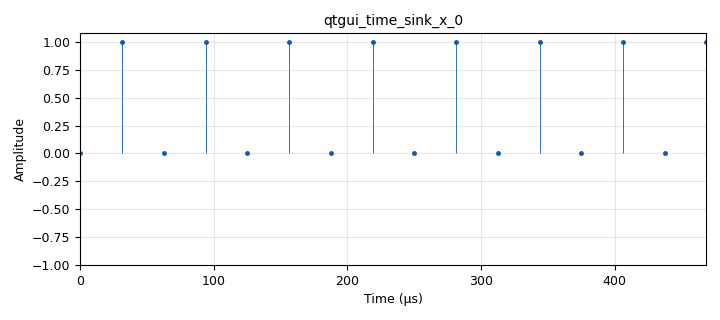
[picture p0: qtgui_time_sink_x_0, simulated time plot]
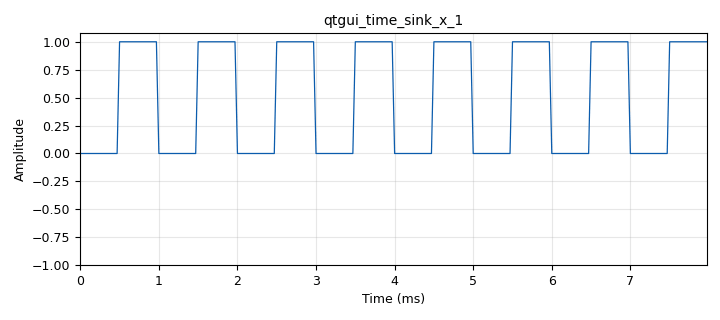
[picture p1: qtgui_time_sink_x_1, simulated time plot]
options:
  parameters:
    generate_options: qt_gui
    id: ook_decoder
    output_language: python
    title: Not titled yet
  states: {}

blocks:
- name: noise_amplitude
  id: variable_qtgui_range
  parameters:
    label: Noise Level
    start: '0'
    step: '.01'
    stop: '2'
    value: '0'
  states: {}
- name: samp_rate
  id: variable
  parameters:
    value: '32000'
  states: {}
- name: sps
  id: variable
  parameters:
    value: '16'
  states: {}
- name: threshold
  id: variable_qtgui_range
  parameters:
    label: Threshold
    start: '0.01'
    step: '0.01'
    stop: '1'
    value: '0.5'
  states: {}
- name: analog_noise_source_x_0
  id: analog_noise_source_x
  parameters:
    amp: noise_amplitude
    noise_type: analog.GR_GAUSSIAN
    seed: '0'
    type: float
  states: {}
- name: analog_sig_source_x_0
  id: analog_sig_source_x
  parameters:
    amp: '1'
    freq: samp_rate/(2*sps)
    offset: '0'
    phase: '0'
    samp_rate: samp_rate
    type: float
    waveform: analog.GR_SQR_WAVE
  states: {}
- name: blocks_add_xx_0
  id: blocks_add_xx
  parameters:
    type: float
  states: {}
- name: blocks_int_to_float_0
  id: blocks_int_to_float
  parameters:
    scale: '1'
  states: {}
- name: blocks_throttle2_0
  id: blocks_throttle2
  parameters:
    samples_per_second: samp_rate
    type: float
  states: {}
- name: epy_block_1
  id: epy_block
  parameters:
    _source_code: |
      """
      Embedded Python Blocks:

      Each time this file is saved, GRC will instantiate the first class it finds
      to get ports and parameters of your block. The arguments to __init__  will
      be the parameters. All of them are required to have default values!
      """

      import numpy as np
      from gnuradio import gr

      class blk(gr.sync_block):
          def __init__(self, threshold=0.5, windowsize=10):  # Schwellwert als Parameter
              gr.sync_block.__init__(
                  self,
                  name='Moving Average with Threshold Decision',
                  in_sig=[np.float32],  # Verwendung von float32 für Eingangssignal
                  out_sig=[np.int32]    # Ausgangssignal als int32 (für 0 oder 1 Werte)
              )
              self.threshold = threshold
              self.window_size = windowsize
              self.buffer = np.zeros(self.window_size, dtype=np.float32)  # Buffer als float32

          def work(self, input_items, output_items):
              in0 = input_items[0]
              out = output_items[0]
              
              for i in range(len(in0)):
                  self.buffer[:-1] = self.buffer[1:]
                  self.buffer[-1] = in0[i]
                  moving_average = np.mean(self.buffer)
                  out[i] = 1 if moving_average > self.threshold else 0
                  
              print(len(out))
                  
              return len(out)
    threshold: threshold
    windowsize: sps
  states: {}
- name: qtgui_time_sink_x_0
  id: qtgui_time_sink_x
  parameters:
    entags: 'False'
    marker1: '0'
    size: int(256/sps)
    srate: samp_rate
    stemplot: 'True'
    tr_level: '0.1'
    tr_mode: qtgui.TRIG_MODE_AUTO
    type: float
    update_time: '0.01'
  states: {}
- name: qtgui_time_sink_x_1
  id: qtgui_time_sink_x
  parameters:
    size: '256'
    srate: samp_rate
    type: float
    update_time: '0.01'
  states: {}
- name: rational_resampler_xxx_0
  id: rational_resampler_xxx
  parameters:
    decim: sps
    interp: '1'
    taps: '[1]'
    type: fff
  states: {}

connections:
- [analog_noise_source_x_0, '0', blocks_add_xx_0, '1']
- [analog_sig_source_x_0, '0', blocks_throttle2_0, '0']
- [blocks_add_xx_0, '0', epy_block_1, '0']
- [blocks_add_xx_0, '0', qtgui_time_sink_x_1, '0']
- [blocks_int_to_float_0, '0', rational_resampler_xxx_0, '0']
- [blocks_throttle2_0, '0', blocks_add_xx_0, '0']
- [epy_block_1, '0', blocks_int_to_float_0, '0']
- [rational_resampler_xxx_0, '0', qtgui_time_sink_x_0, '0']

metadata:
  file_format: 1
  grc_version: 3.10.6.0
